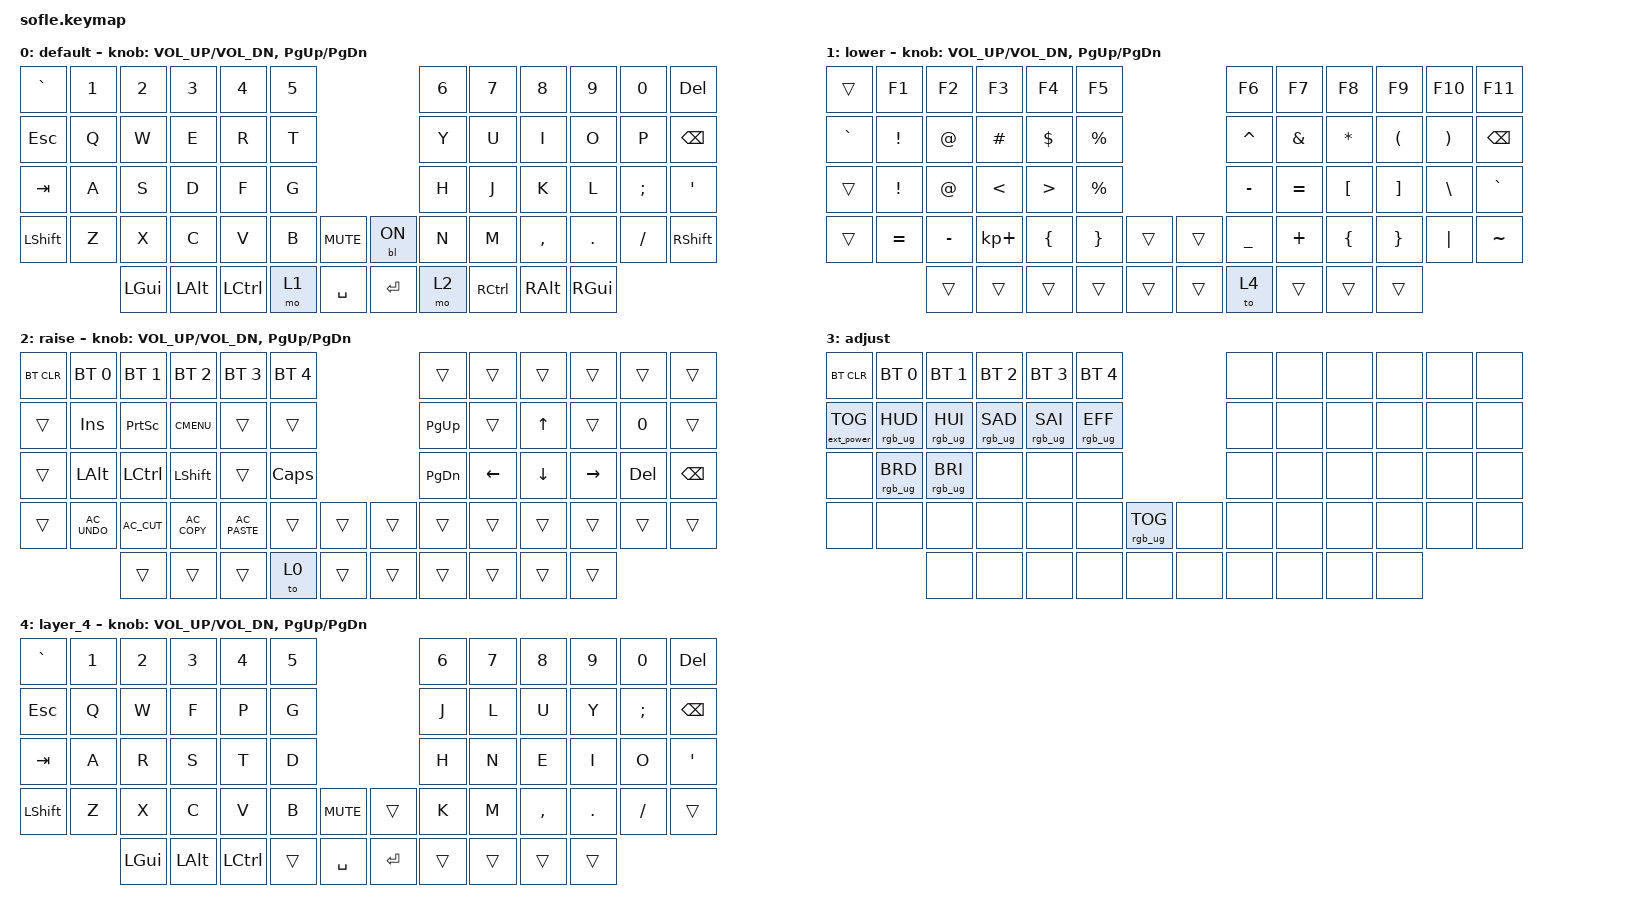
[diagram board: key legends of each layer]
/*
 * Copyright (c) 2020 The ZMK Contributors
 *
 * SPDX-License-Identifier: MIT
 */

#include <behaviors.dtsi>
#include <dt-bindings/zmk/backlight.h>
#include <dt-bindings/zmk/bt.h>
#include <dt-bindings/zmk/ext_power.h>
#include <dt-bindings/zmk/keys.h>
#include <dt-bindings/zmk/rgb.h>

#define BASE 0
#define LOWER 1
#define RAISE 2
#define ADJUST 3

/ {
    // Activate ADJUST layer by pressing raise and lower

    conditional_layers {
        compatible = "zmk,conditional-layers";

        adjust_layer {
            if-layers = <1 2>;
            then-layer = <3>;
        };
    };

    keymap {
        compatible = "zmk,keymap";

        default_layer {
            display-name = "default";

            // ------------------------------------------------------------------------------------------------------------
            // |   `   |  1  |  2  |  3   |  4   |  5   |                   |  6   |  7    |  8    |  9   |   0   |  F5   |
            // |  ESC  |  Q  |  W  |  E   |  R   |  T   |                   |  Y   |  U    |  I    |  O   |   P   | BKSPC |
            // |  TAB  |  A  |  S  |  D   |  F   |  G   |                   |  H   |  J    |  K    |  L   |   ;   |   '   |
            // | SHIFT |  Z  |  X  |  C   |  V   |  B   |  MUTE  |  |       |  N   |  M    |  ,    |  .   |   /   | SHIFT |
            //               | GUI | ALT  | CTRL | LOWER|  ENTER |  | SPACE | RAISE| CTRL  | ALT   | GUI  |

            bindings = <
&kp GRAVE  &kp N1  &kp N2    &kp N3    &kp N4     &kp N5                           &kp N6  &kp N7     &kp N8     &kp N9    &kp N0    &kp DELETE
&kp ESC    &kp Q   &kp W     &kp E     &kp R      &kp T                            &kp Y   &kp U      &kp I      &kp O     &kp P     &kp BSPC
&kp TAB    &kp A   &kp S     &kp D     &kp F      &kp G                            &kp H   &kp J      &kp K      &kp L     &kp SEMI  &kp SQT
&kp LSHFT  &kp Z   &kp X     &kp C     &kp V      &kp B   &kp C_MUTE    &bl BL_ON  &kp N   &kp M      &kp COMMA  &kp DOT   &kp FSLH  &kp RSHFT
                   &kp LGUI  &kp LALT  &kp LCTRL  &mo 1   &kp SPACE     &kp ENTER  &mo 2   &kp RCTRL  &kp RALT   &kp RGUI
            >;

            sensor-bindings = <&inc_dec_kp C_VOL_UP C_VOL_DN &inc_dec_kp PG_UP PG_DN>;
        };

        lower_layer {
            display-name = "lower";

            // TODO: Some binds are waiting for shifted keycode support.
            // ------------------------------------------------------------------------------------------------------------
            // |       |  F1 |  F2 |  F3  |  F4  |  F5  |                   |  F6  |  F7   |  F8   |  F9  |  F10  |  F11  |
            // |   `   |  1  |  2  |  3   |  4   |  5   |                   |  6   |  7    |  8    |  9   |   0   |  F12  |
            // |       |  !  |  @  |  #   |  $   |  %   |                   |  ^   |  &    |  *    |  (   |   )   |   |   |
            // |       |  =  |  -  |  +   |  {   |  }   |        |  |       |  [   |  ]    |  ;    |  :   |   \   |       |
            //               |     |      |      |      |        |  |       |      |       |       |      |

            bindings = <
&trans     &kp F1     &kp F2     &kp F3         &kp F4            &kp F5                         &kp F6     &kp F7         &kp F8            &kp F9                &kp F10                &kp F11
&kp GRAVE  &kp EXCL   &kp AT     &kp HASH       &kp DOLLAR        &kp PERCENT                    &kp CARET  &kp AMPERSAND  &kp ASTERISK      &kp LEFT_PARENTHESIS  &kp RIGHT_PARENTHESIS  &kp BACKSPACE
&trans     &kp EXCL   &kp AT     &kp LESS_THAN  &kp GREATER_THAN  &kp PRCNT                      &kp MINUS  &kp EQUAL      &kp LEFT_BRACKET  &kp RIGHT_BRACKET     &kp BACKSLASH          &kp GRAVE
&trans     &kp EQUAL  &kp MINUS  &kp KP_PLUS    &kp LBRC          &kp RBRC     &trans    &trans  &kp UNDER  &kp PLUS       &kp LEFT_BRACE    &kp RIGHT_BRACE       &kp PIPE               &kp TILDE
                      &trans     &trans         &trans            &trans       &trans    &trans  &to 4      &trans         &trans            &trans
            >;

            sensor-bindings = <&inc_dec_kp C_VOL_UP C_VOL_DN &inc_dec_kp PG_UP PG_DN>;
        };

        raise_layer {
            display-name = "raise";

            // ------------------------------------------------------------------------------------------------------------
            // | BTCLR | BT1  | BT2  |  BT3  |  BT4  |  BT5 |                |      |      |       |      |       |       |
            // |       | INS  | PSCR | GUI   |       |      |                | PGUP |      |   ^   |      |       |       |
            // |       | ALT  | CTRL | SHIFT |       | CAPS |                | PGDN |   <- |   v   |  ->  |  DEL  | BKSPC |
            // |       | UNDO | CUT  | COPY  | PASTE |      |      |  |      |      |      |       |      |       |       |
            //                |      |       |       |      |      |  |      |      |      |       |      |

            bindings = <
&bt BT_CLR  &bt BT_SEL 0   &bt BT_SEL 1  &bt BT_SEL 2   &bt BT_SEL 3    &bt BT_SEL 4                    &trans     &trans    &trans    &trans     &trans   &trans
&trans      &kp INS        &kp PSCRN     &kp K_CMENU    &trans          &trans                          &kp PG_UP  &trans    &kp UP    &trans     &kp N0   &trans
&trans      &kp LALT       &kp LCTRL     &kp LSHFT      &trans          &kp CLCK                        &kp PG_DN  &kp LEFT  &kp DOWN  &kp RIGHT  &kp DEL  &kp BSPC
&trans      &kp C_AC_UNDO  &kp C_AC_CUT  &kp C_AC_COPY  &kp C_AC_PASTE  &trans        &trans    &trans  &trans     &trans    &trans    &trans     &trans   &trans
                           &trans        &trans         &trans          &to 0         &trans    &trans  &trans     &trans    &trans    &trans
            >;

            sensor-bindings = <&inc_dec_kp C_VOL_UP C_VOL_DN &inc_dec_kp PG_UP PG_DN>;
        };

        adjust_layer {
            // ----------------------------------------------------------------------------------------------------------------------------
            // | BTCLR  |  BT1    |  BT2    |   BT3   |   BT4   |   BT5   |                  |      |      |       |      |       |       |
            // | EXTPWR | RGB_HUD | RGB_HUI | RGB_SAD | RGB_SAI | RGB_EFF |                  |      |      |       |      |       |       |
            // |        | RGB_BRD | RGB_BRI |         |         |         |                  |      |      |       |      |       |       |
            // |        |         |         |         |         |         | RGB_TOG | |      |      |      |       |      |       |       |
            //                    |         |         |         |         |         | |      |      |      |       |      |

            display-name = "adjust";
            bindings = <
&bt BT_CLR         &bt BT_SEL 0     &bt BT_SEL 1     &bt BT_SEL 2     &bt BT_SEL 3     &bt BT_SEL 4                               &none  &none  &none  &none  &none  &none
&ext_power EP_TOG  &rgb_ug RGB_HUD  &rgb_ug RGB_HUI  &rgb_ug RGB_SAD  &rgb_ug RGB_SAI  &rgb_ug RGB_EFF                            &none  &none  &none  &none  &none  &none
&none              &rgb_ug RGB_BRD  &rgb_ug RGB_BRI  &none            &none            &none                                      &none  &none  &none  &none  &none  &none
&none              &none            &none            &none            &none            &none            &rgb_ug RGB_TOG    &none  &none  &none  &none  &none  &none  &none
                                    &none            &none            &none            &none            &none              &none  &none  &none  &none  &none
            >;
        };

        layer_4 {
            bindings = <
&kp GRAVE  &kp N1  &kp N2    &kp N3    &kp N4     &kp N5                           &kp N6  &kp N7  &kp N8     &kp N9   &kp N0    &kp DELETE
&kp ESC    &kp Q   &kp W     &kp F     &kp P      &kp G                            &kp J   &kp L   &kp U      &kp Y    &kp SEMI  &kp BSPC
&kp TAB    &kp A   &kp R     &kp S     &kp T      &kp D                            &kp H   &kp N   &kp E      &kp I    &kp O     &kp APOS
&kp LSHFT  &kp Z   &kp X     &kp C     &kp V      &kp B   &kp C_MUTE    &trans     &kp K   &kp M   &kp COMMA  &kp DOT  &kp FSLH  &trans
                   &kp LGUI  &kp LALT  &kp LCTRL  &trans  &kp SPACE     &kp ENTER  &trans  &trans  &trans     &trans
            >;

            sensor-bindings =
                <&inc_dec_kp C_VOLUME_UP C_VOL_DN>,
                <&inc_dec_kp PAGE_UP PAGE_DOWN>;
        };
    };
};
